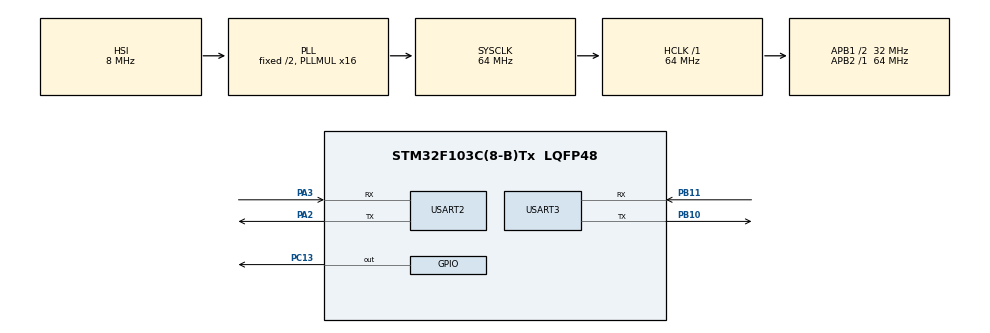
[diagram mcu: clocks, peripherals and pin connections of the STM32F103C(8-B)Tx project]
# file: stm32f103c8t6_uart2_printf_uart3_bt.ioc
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Mcu.Family=STM32F1
Mcu.Name=STM32F103C(8-B)Tx
Mcu.Package=LQFP48
NVIC.PriorityGroup=NVIC_PRIORITYGROUP_4
NVIC.USART2_IRQn=true\:0\:0\:false\:false\:true\:true\:true\:true
NVIC.USART3_IRQn=true\:0\:0\:false\:false\:true\:true\:true\:true
PA2.Mode=Asynchronous
PA2.Signal=USART2_TX
PA3.Mode=Asynchronous
PA3.Signal=USART2_RX
PB10.Mode=Asynchronous
PB10.Signal=USART3_TX
PB11.Mode=Asynchronous
PB11.Signal=USART3_RX
PC13-TAMPER-RTC.Signal=GPIO_Output
PD0-OSC_IN.Mode=HSE-External-Oscillator
PD0-OSC_IN.Signal=RCC_OSC_IN
PD1-OSC_OUT.Mode=HSE-External-Oscillator
PD1-OSC_OUT.Signal=RCC_OSC_OUT
ProjectManager.HeapSize=0x200
ProjectManager.StackSize=0x400
ProjectManager.TargetToolchain=STM32CubeIDE
RCC.AHBFreq_Value=64000000
RCC.APB1CLKDivider=RCC_HCLK_DIV2
RCC.APB1Freq_Value=32000000
RCC.APB1TimFreq_Value=64000000
RCC.APB2Freq_Value=64000000
RCC.APB2TimFreq_Value=64000000
RCC.HCLKFreq_Value=64000000
RCC.PLLMUL=RCC_PLL_MUL16
RCC.SYSCLKFreq_VALUE=64000000
RCC.SYSCLKSource=RCC_SYSCLKSOURCE_PLLCLK
RCC.USBFreq_Value=64000000
USART2.VirtualMode=VM_ASYNC
USART3.VirtualMode=VM_ASYNC
VP_SYS_VS_ND.Mode=No_Debug
board=custom

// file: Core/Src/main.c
/* USART2 usb to serial debug      PA2  USART3 TX , PA3 USART3 RX */
/* USART3 bluetooth & wifi Seiral  PB10 USART2_TX , PB11 USART2 TX */

/* USER CODE BEGIN Header */
/**
  ******************************************************************************
  * @file           : main.c
  * @brief          : Main program body
  ******************************************************************************
  * @attention
  *
  * Copyright (c) 2024 STMicroelectronics.
  * All rights reserved.
  *
  * This software is licensed under terms that can be found in the LICENSE file
  * in the root directory of this software component.
  * If no LICENSE file comes with this software, it is provided AS-IS.
  *
  ******************************************************************************
  */
/* USER CODE END Header */
#include "main.h"

/* USER CODE BEGIN Includes */
#include <stdio.h>
#include <string.h>
/* USER CODE END Includes */

/* USER CODE BEGIN PD */
#ifdef __GNUC__
/* With GCC, small printf (option LD Linker->Libraries->Small printf
   set to 'Yes') calls __io_putchar() */
#define PUTCHAR_PROTOTYPE int __io_putchar(int ch)
#else
#define PUTCHAR_PROTOTYPE int fputc(int ch, FILE *f)
#endif /* __GNUC__ */
#define ARR_CNT 5
#define CMD_SIZE 50
/* USER CODE END PD */

UART_HandleTypeDef huart2;
UART_HandleTypeDef huart3;

/* USER CODE BEGIN PV */
uint8_t rx2char;
volatile unsigned char rx2Flag = 0;
volatile char rx2Data[50];
volatile unsigned char btFlag = 0;
uint8_t btchar;
volatile char btData[50];
void bluetooth_Event();
/* USER CODE END PV */

void SystemClock_Config(void);
static void MX_GPIO_Init(void);
static void MX_USART3_UART_Init(void);
static void MX_USART2_UART_Init(void);

int main(void)
{

  /* MCU Configuration--------------------------------------------------------*/

  /* Reset of all peripherals, Initializes the Flash interface and the Systick. */
  HAL_Init();

  /* Configure the system clock */
  SystemClock_Config();

  /* Initialize all configured peripherals */
  MX_GPIO_Init();
//  MX_USART3_UART_Init();
  MX_USART2_UART_Init();
  MX_USART3_UART_Init();
  /* USER CODE BEGIN 2 */
  HAL_UART_Receive_IT(&huart2, &rx2char,1);
  HAL_UART_Receive_IT(&huart3, &btchar,1);
  printf("start main2()\r\n");
  char buf[10] = "Hello\r";
  /* USER CODE END 2 */

  /* Infinite loop */
  while (1)
  {
	  if(rx2Flag)
	  {
		printf("recv2 : %s\r\n",rx2Data);
		rx2Flag =0;
//	    HAL_UART_Transmit(&huart3, (uint8_t *)buf, strlen(buf), 0xFFFF);
	  }
	  if(btFlag)
	  {
//		printf("bt : %s\r\n",btData);
		btFlag =0;
		bluetooth_Event();
	  }
//	  HAL_GPIO_TogglePin(GPIOC, GPIO_PIN_13);
//	  HAL_Delay(500);

  }
}

void SystemClock_Config(void)
{
  RCC_OscInitTypeDef RCC_OscInitStruct = {0};
  RCC_ClkInitTypeDef RCC_ClkInitStruct = {0};

  /** Initializes the RCC Oscillators according to the specified parameters
  * in the RCC_OscInitTypeDef structure.
  */
  RCC_OscInitStruct.OscillatorType = RCC_OSCILLATORTYPE_HSI;
  RCC_OscInitStruct.HSIState = RCC_HSI_ON;
  RCC_OscInitStruct.HSICalibrationValue = RCC_HSICALIBRATION_DEFAULT;
  RCC_OscInitStruct.PLL.PLLState = RCC_PLL_ON;
  RCC_OscInitStruct.PLL.PLLSource = RCC_PLLSOURCE_HSI_DIV2;
  RCC_OscInitStruct.PLL.PLLMUL = RCC_PLL_MUL16;
  if (HAL_RCC_OscConfig(&RCC_OscInitStruct) != HAL_OK)
  {
    Error_Handler();
  }

  /** Initializes the CPU, AHB and APB buses clocks
  */
  RCC_ClkInitStruct.ClockType = RCC_CLOCKTYPE_HCLK|RCC_CLOCKTYPE_SYSCLK
                              |RCC_CLOCKTYPE_PCLK1|RCC_CLOCKTYPE_PCLK2;
  RCC_ClkInitStruct.SYSCLKSource = RCC_SYSCLKSOURCE_PLLCLK;
  RCC_ClkInitStruct.AHBCLKDivider = RCC_SYSCLK_DIV1;
  RCC_ClkInitStruct.APB1CLKDivider = RCC_HCLK_DIV2;
  RCC_ClkInitStruct.APB2CLKDivider = RCC_HCLK_DIV1;

  if (HAL_RCC_ClockConfig(&RCC_ClkInitStruct, FLASH_LATENCY_2) != HAL_OK)
  {
    Error_Handler();
  }
}

static void MX_USART2_UART_Init(void)
{

  huart2.Instance = USART2;
  huart2.Init.BaudRate = 115200;
  huart2.Init.WordLength = UART_WORDLENGTH_8B;
  huart2.Init.StopBits = UART_STOPBITS_1;
  huart2.Init.Parity = UART_PARITY_NONE;
  huart2.Init.Mode = UART_MODE_TX_RX;
  huart2.Init.HwFlowCtl = UART_HWCONTROL_NONE;
  huart2.Init.OverSampling = UART_OVERSAMPLING_16;
  if (HAL_UART_Init(&huart2) != HAL_OK)
  {
    Error_Handler();
  }

}

static void MX_USART3_UART_Init(void)
{

  huart3.Instance = USART3;
  huart3.Init.BaudRate = 9600;
  huart3.Init.WordLength = UART_WORDLENGTH_8B;
  huart3.Init.StopBits = UART_STOPBITS_1;
  huart3.Init.Parity = UART_PARITY_NONE;
  huart3.Init.Mode = UART_MODE_TX_RX;
  huart3.Init.HwFlowCtl = UART_HWCONTROL_NONE;
  huart3.Init.OverSampling = UART_OVERSAMPLING_16;
  if (HAL_UART_Init(&huart3) != HAL_OK)
  {
    Error_Handler();
  }

}

static void MX_GPIO_Init(void)
{
  GPIO_InitTypeDef GPIO_InitStruct = {0};

  /* GPIO Ports Clock Enable */
  __HAL_RCC_GPIOC_CLK_ENABLE();
  __HAL_RCC_GPIOD_CLK_ENABLE();
  __HAL_RCC_GPIOA_CLK_ENABLE();
  __HAL_RCC_GPIOB_CLK_ENABLE();

  /*Configure GPIO pin Output Level */
  HAL_GPIO_WritePin(GPIOC, GPIO_PIN_13, GPIO_PIN_RESET);

  /*Configure GPIO pin : PC13 */
  GPIO_InitStruct.Pin = GPIO_PIN_13;
  GPIO_InitStruct.Mode = GPIO_MODE_OUTPUT_PP;
  GPIO_InitStruct.Pull = GPIO_NOPULL;
  GPIO_InitStruct.Speed = GPIO_SPEED_FREQ_LOW;
  HAL_GPIO_Init(GPIOC, &GPIO_InitStruct);

}

/* USER CODE BEGIN 4 */
void MX_GPIO_LED_ON(int flag)
{
	HAL_GPIO_WritePin(GPIOC, flag, GPIO_PIN_RESET);
}
void MX_GPIO_LED_OFF(int flag)
{
	HAL_GPIO_WritePin(GPIOC, flag, GPIO_PIN_SET);
}
void bluetooth_Event()
{

  int i=0;
  char * pToken;
  char * pArray[ARR_CNT]={0};
  char recvBuf[CMD_SIZE]={0};
  char sendBuf[CMD_SIZE]={0};
  strcpy(recvBuf,btData);

  printf("btData : %s\r\n",btData);

  pToken = strtok(recvBuf,"[@]");
  while(pToken != NULL)
  {
    pArray[i] =  pToken;
    if(++i >= ARR_CNT)
      break;
    pToken = strtok(NULL,"[@]");
  }
//  printf("pArray[0] : %s\r\n",pArray[0]);
//  printf("pArray[1] : %s\r\n",pArray[1]);
//  printf("pArray[2] : %s\r\n",pArray[2]);

  if(!strcmp(pArray[1],"LED"))
  {
	if(!strcmp(pArray[2],"ON"))
	{
		MX_GPIO_LED_ON(GPIO_PIN_13);
	}
	else if(!strcmp(pArray[2],"OFF"))
	{
		MX_GPIO_LED_OFF(GPIO_PIN_13);
	}
  }
  else if(!strncmp(pArray[1]," New conn",sizeof(" New conn")))
  {
      return;
  }
  else if(!strncmp(pArray[1]," Already log",sizeof(" Already log")))
  {
      return;
  }
  else
      return;

  sprintf(sendBuf,"[%s]%s@%s\n",pArray[0],pArray[1],pArray[2]);
  HAL_UART_Transmit(&huart3, (uint8_t *)sendBuf, strlen(sendBuf), 0xFFFF);

}
/**
  * @brief  Retargets the C library printf function to the USART.
  * @param  None
  * @retval None
  */
PUTCHAR_PROTOTYPE
{
  /* Place your implementation of fputc here */
  /* e.g. write a character to the USART3 and Loop until the end of transmission */
  HAL_UART_Transmit(&huart2, (uint8_t *)&ch, 1, 0xFFFF);

  return ch;
}
void HAL_UART_RxCpltCallback(UART_HandleTypeDef *huart)
{
    if(huart->Instance == USART2)
    {
    	static int i=0;
    	rx2Data[i] = rx2char;
    	if((rx2Data[i] == '\r')||(btData[i] == '\n'))
    	{
    		rx2Data[i] = '\0';
    		rx2Flag = 1;
    		i = 0;
    	}
    	else
    	{
    		i++;
    	}
    	HAL_UART_Receive_IT(&huart2, &rx2char,1);
    }
    if(huart->Instance == USART3)
    {
    	static int i=0;
    	btData[i] = btchar;
    	if((btData[i] == '\n') || btData[i] == '\r')
    	{
    		btData[i] = '\0';
    		btFlag = 1;
    		i = 0;
    	}
    	else
    	{
    		i++;
    	}
    	HAL_UART_Receive_IT(&huart3, &btchar,1);
    }
}
/* USER CODE END 4 */

void Error_Handler(void)
{
  __disable_irq();
  while (1)
  {
  }
}
